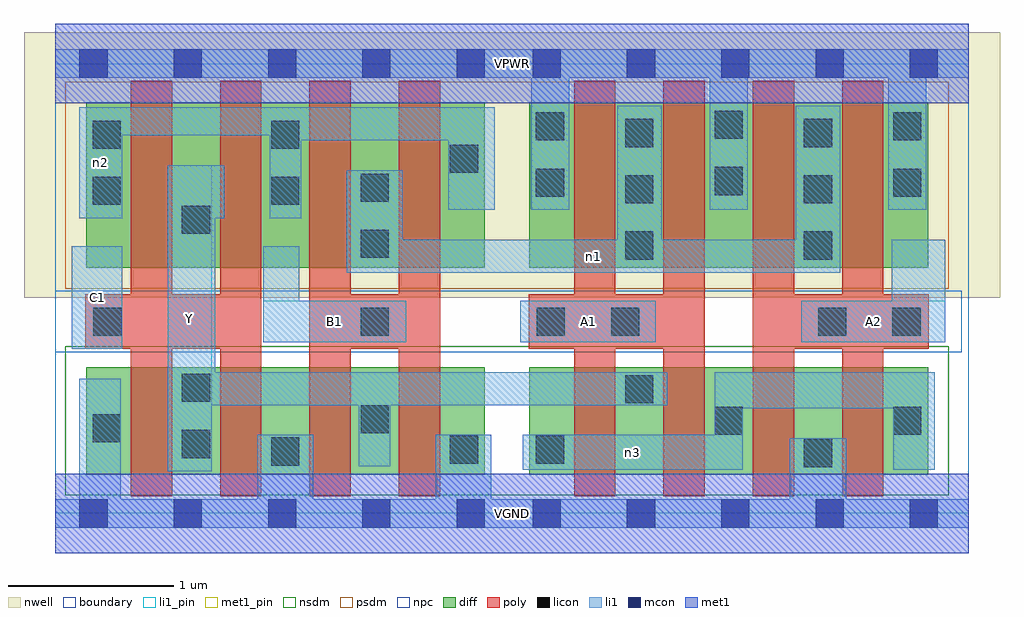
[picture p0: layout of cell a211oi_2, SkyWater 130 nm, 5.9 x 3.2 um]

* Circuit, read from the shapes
.subckt a211oi_2 A1 A2 B1 C1 VGND VPWR Y n1 n2 n3
XM1 Y C1 VGND VSUBS sky130_fd_pr__nfet_01v8 w=0.65 l=0.25 m=2
XM2 Y B1 VGND VSUBS sky130_fd_pr__nfet_01v8 w=0.65 l=0.25 m=2
XM3 Y A1 n3 VSUBS sky130_fd_pr__nfet_01v8 w=0.65 l=0.25 m=2
XM4 VGND A2 n3 VSUBS sky130_fd_pr__nfet_01v8 w=0.65 l=0.25 m=2
XM5 Y C1 n2 n4 sky130_fd_pr__pfet_01v8 w=1 l=0.25 m=2
XM6 n1 B1 n2 n4 sky130_fd_pr__pfet_01v8 w=1 l=0.25 m=2
XM7 n1 A1 VPWR n4 sky130_fd_pr__pfet_01v8 w=1 l=0.25 m=2
XM8 n1 A2 VPWR n4 sky130_fd_pr__pfet_01v8 w=1 l=0.25 m=2
.ends

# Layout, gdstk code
import gdstk
lib = gdstk.Library(unit=1e-6, precision=1e-09)
def R(c, l, rs):  # rectangles x0, y0, x1, y1
    for r in rs: c.add(gdstk.rectangle(r[:2], r[2:], *l))
def A(c, l, x, y, w, h, nx, ny, dx, dy):  # array of equal rectangles
    R(c, l, [(x+i*dx, y+j*dy, x+i*dx+w, y+j*dy+h) for i in range(nx) for j in range(ny)])
nwell = (64, 20)
diff = (65, 20)
poly = (66, 20)
licon = (66, 44)
li1_pin = (67, 16)
li1 = (67, 20)
mcon = (67, 44)
met1_pin = (68, 16)
met1 = (68, 20)
nsdm = (93, 44)
psdm = (94, 20)
npc = (95, 20)
boundary = (235, 4)

a211oi_2 = lib.new_cell('a211oi_2')
R(a211oi_2, nwell, [(-0.19,1.305,5.71,2.91), (0,1.305,5.52,2.91)])
R(a211oi_2, diff, [(0.185,0.235,2.595,0.885), (2.865,0.235,5.275,0.885), (0.185,1.485,2.595,2.485), (2.865,1.485,5.275,2.485)])
A(a211oi_2, poly, 0.455, 0.105, 0.25, 2.51, 4, 1, 0.54, 0)
A(a211oi_2, poly, 3.135, 0.105, 0.25, 2.51, 4, 1, 0.54, 0)
R(a211oi_2, poly, [(0.18,0.995,1.245,1.325), (1.535,0.995,2.325,1.325), (2.86,0.995,3.925,1.325), (4.215,0.995,5.28,1.325)])
A(a211oi_2, licon, 3.445, 1.535, 0.17, 0.17, 1, 3, 0, 0.34)
A(a211oi_2, licon, 4.525, 1.535, 0.17, 0.17, 1, 3, 0, 0.34)
R(a211oi_2, licon, [(4.525,0.28,4.695,0.45), (1.305,0.29,1.475,0.46), (2.385,0.3,2.555,0.47), (2.905,0.3,3.075,0.47), (0.765,0.335,0.935,0.505), (0.225,0.43,0.395,0.6), (3.985,0.475,4.155,0.645), (5.065,0.475,5.235,0.645), (1.845,0.485,2.015,0.655), (3.445,0.665,3.615,0.835), (0.765,0.675,0.935,0.845), (0.23,1.075,0.4,1.245), (1.845,1.075,2.015,1.245), (2.91,1.075,3.08,1.245), (3.36,1.075,3.53,1.245), (4.61,1.075,4.78,1.245), (5.06,1.075,5.23,1.245), (1.845,1.545,2.015,1.715), (0.765,1.69,0.935,1.86), (0.225,1.865,0.395,2.035), (1.305,1.865,1.475,2.035), (1.845,1.885,2.015,2.055), (2.905,1.915,3.075,2.085), (5.065,1.915,5.235,2.085), (3.985,1.925,4.155,2.095), (2.385,2.06,2.555,2.23), (0.225,2.205,0.395,2.375), (1.305,2.205,1.475,2.375), (2.905,2.255,3.075,2.425), (5.065,2.255,5.235,2.425), (3.985,2.265,4.155,2.435)])
R(a211oi_2, li1_pin, [(0.68,0.255,0.945,2.105), (0.1,0.995,0.405,1.615), (1.255,1.035,2.12,1.285), (2.81,1.035,3.63,1.285), (4.51,1.035,5.38,1.285)])
A(a211oi_2, li1, 2.875, 1.835, 0.23, 0.97, 3, 1, 1.08, 0)
R(a211oi_2, li1, [(0,-0.085,5.52,0.085), (0.145,-0.085,0.395,0.815), (1.22,-0.085,1.56,0.475), (2.3,-0.085,2.635,0.475), (4.44,-0.085,4.78,0.455), (0.68,0.255,0.945,2.105), (2.825,0.265,4.155,0.475), (3.985,0.265,4.155,0.855), (5.065,0.265,5.315,0.855), (1.835,0.285,2.025,0.855), (3.985,0.635,5.315,0.855), (0.68,0.655,3.7,0.855), (0.68,0.655,0.965,2.105), (0.1,0.995,0.405,1.615), (1.255,1.035,2.12,1.285), (1.255,1.035,1.475,1.615), (2.81,1.035,3.63,1.285), (4.51,1.035,5.38,1.285), (5.055,1.035,5.38,1.655), (1.76,1.455,4.745,1.655), (1.76,1.455,2.1,2.075), (3.395,1.455,3.665,2.465), (4.475,1.455,4.745,2.465), (0.145,1.785,0.405,2.455), (0.68,1.785,1.02,2.105), (1.295,1.785,1.485,2.455), (2.375,1.835,2.655,2.455), (1.295,2.255,2.655,2.455), (0.145,2.285,2.655,2.455), (0,2.635,5.52,2.805)])
A(a211oi_2, mcon, 0.145, -0.085, 0.17, 0.17, 5, 2, 0.57, 2.72)
A(a211oi_2, mcon, 2.885, -0.085, 0.17, 0.17, 5, 2, 0.57, 2.72)
R(a211oi_2, met1_pin, [(0,-0.24,5.52,0.24), (0,2.48,5.52,2.96)])
R(a211oi_2, met1, [(0,-0.24,5.52,0.24), (0,2.48,5.52,2.96)])
R(a211oi_2, nsdm, [(0.06,0.11,5.4,1.01)])
R(a211oi_2, psdm, [(0.06,1.36,5.4,2.61)])
R(a211oi_2, npc, [(0,0.975,5.48,1.345)])
R(a211oi_2, boundary, [(0,0,5.52,2.72)])
a211oi_2.add(gdstk.Label('A1', (3.22,1.16), layer=67, texttype=5))
a211oi_2.add(gdstk.Label('A2', (4.945,1.16), layer=67, texttype=5))
a211oi_2.add(gdstk.Label('B1', (1.687,1.16), layer=67, texttype=5))
a211oi_2.add(gdstk.Label('C1', (0.252,1.305), layer=67, texttype=5))
a211oi_2.add(gdstk.Label('Y', (0.812,1.18), layer=67, texttype=5))
a211oi_2.add(gdstk.Label('n3', (3.49,0.37), layer=67, texttype=5))
a211oi_2.add(gdstk.Label('n2', (0.275,2.12), layer=67, texttype=5))
a211oi_2.add(gdstk.Label('n1', (3.252,1.555), layer=67, texttype=5))
a211oi_2.add(gdstk.Label('VPWR', (2.76,2.72), layer=68, texttype=5))
a211oi_2.add(gdstk.Label('VGND', (2.76,0), layer=68, texttype=5))
a211oi_2.add(gdstk.Label('A1', (3.22,1.16), layer=67, texttype=16))
a211oi_2.add(gdstk.Label('A2', (4.945,1.16), layer=67, texttype=16))
a211oi_2.add(gdstk.Label('B1', (1.687,1.16), layer=67, texttype=16))
a211oi_2.add(gdstk.Label('C1', (0.252,1.305), layer=67, texttype=16))
a211oi_2.add(gdstk.Label('Y', (0.812,1.18), layer=67, texttype=16))
a211oi_2.add(gdstk.Label('VPWR', (2.76,2.72), layer=68, texttype=16))
a211oi_2.add(gdstk.Label('VGND', (2.76,0), layer=68, texttype=16))

lib.write_gds('a211oi_2.gds')
